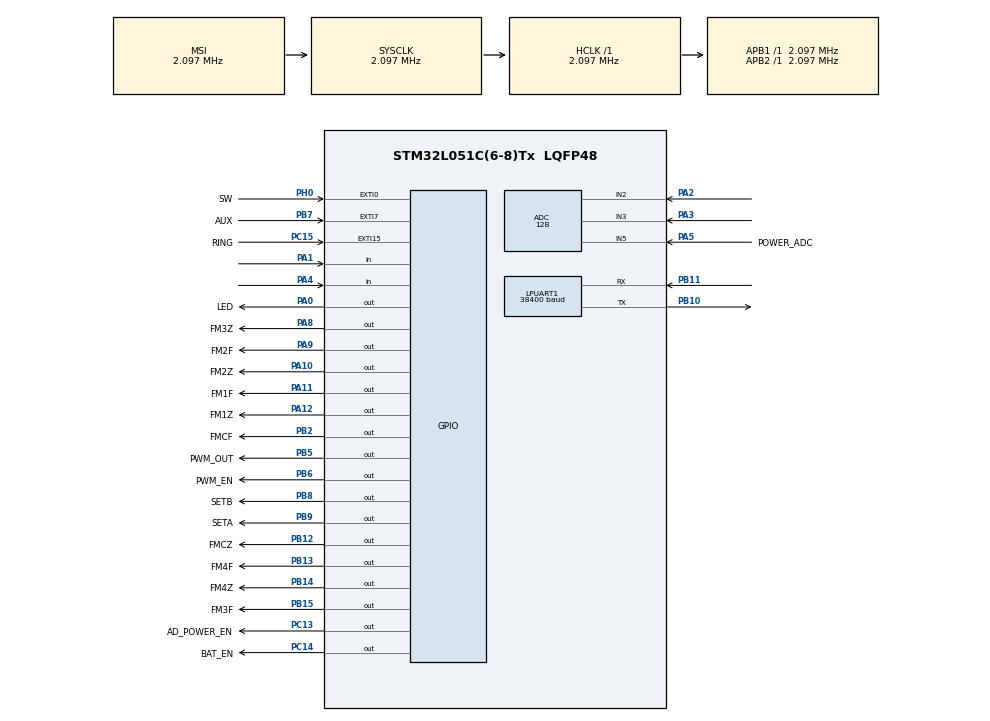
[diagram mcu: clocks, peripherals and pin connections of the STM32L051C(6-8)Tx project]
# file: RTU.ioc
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ADC.ClockPrescaler=ADC_CLOCK_SYNC_PCLK_DIV1
ADC.ContinuousConvMode=DISABLE
ADC.DMAContinuousRequests=DISABLE
ADC.DataAlign=ADC_DATAALIGN_RIGHT
ADC.DiscontinuousConvMode=DISABLE
ADC.EOCSelection=ADC_EOC_SINGLE_CONV
ADC.EnableAnalogWatchDog=false
ADC.ExternalTrigConvEdge=ADC_EXTERNALTRIGCONVEDGE_NONE
ADC.LowPowerAutoPowerOff=DISABLE
ADC.LowPowerAutoWait=DISABLE
ADC.LowPowerFrequencyMode=DISABLE
ADC.Overrun=ADC_OVR_DATA_PRESERVED
ADC.OversamplingMode=DISABLE
ADC.Resolution=ADC_RESOLUTION_12B
ADC.SamplingTime=ADC_SAMPLETIME_71CYCLES_5
ADC.ScanConvMode=ADC_SCAN_DIRECTION_FORWARD
Dma.ADC.1.Direction=DMA_PERIPH_TO_MEMORY
Dma.ADC.1.Instance=DMA1_Channel1
Dma.ADC.1.MemDataAlignment=DMA_MDATAALIGN_WORD
Dma.ADC.1.MemInc=DMA_MINC_ENABLE
Dma.ADC.1.Mode=DMA_CIRCULAR
Dma.ADC.1.PeriphDataAlignment=DMA_PDATAALIGN_WORD
Dma.ADC.1.PeriphInc=DMA_PINC_DISABLE
Dma.ADC.1.Priority=DMA_PRIORITY_LOW
Dma.ADC.1.Request=DMA_REQUEST_0
Dma.LPUART1_RX.0.Direction=DMA_PERIPH_TO_MEMORY
Dma.LPUART1_RX.0.Instance=DMA1_Channel3
Dma.LPUART1_RX.0.MemDataAlignment=DMA_MDATAALIGN_BYTE
Dma.LPUART1_RX.0.MemInc=DMA_MINC_ENABLE
Dma.LPUART1_RX.0.Mode=DMA_CIRCULAR
Dma.LPUART1_RX.0.PeriphDataAlignment=DMA_PDATAALIGN_BYTE
Dma.LPUART1_RX.0.PeriphInc=DMA_PINC_DISABLE
Dma.LPUART1_RX.0.Priority=DMA_PRIORITY_LOW
Dma.LPUART1_RX.0.Request=DMA_REQUEST_5
Dma.Request0=LPUART1_RX
Dma.Request1=ADC
LPUART1.BaudRate=38400
LPUART1.WordLength=UART_WORDLENGTH_8B
Mcu.Family=STM32L0
Mcu.Name=STM32L051C(6-8)Tx
Mcu.Package=LQFP48
NVIC.AES_RNG_LPUART1_IRQn=true\:1\:0\:true\:false\:true
NVIC.DMA1_Channel1_IRQn=true\:0\:0\:false\:false\:true
NVIC.DMA1_Channel2_3_IRQn=true\:0\:0\:false\:false\:true
NVIC.EXTI0_1_IRQn=true\:3\:0\:true\:false\:true
NVIC.EXTI4_15_IRQn=true\:3\:0\:true\:false\:true
NVIC.PVD_IRQn=true\:1\:0\:true\:false\:true
PA0.GPIO_Label=LED
PA0.GPIO_PuPd=GPIO_NOPULL
PA0.Signal=GPIO_Output
PA1.GPIO_PuPd=GPIO_PULLUP
PA1.Signal=GPIO_Input
PA10.GPIO_Label=FM2Z
PA10.Signal=GPIO_Output
PA11.GPIO_Label=FM1F
PA11.Signal=GPIO_Output
PA12.GPIO_Label=FM1Z
PA12.Signal=GPIO_Output
PA13.Mode=Serial_Wire
PA13.Signal=SYS_SWDIO
PA14.Mode=Serial_Wire
PA14.Signal=SYS_SWCLK
PA2.Mode=IN2
PA2.Signal=ADC_IN2
PA3.Mode=IN3
PA3.Signal=ADC_IN3
PA4.GPIO_PuPd=GPIO_PULLUP
PA4.Signal=GPIO_Input
PA5.GPIO_Label=POWER_ADC
PA5.Mode=IN5
PA5.Signal=ADC_IN5
PA8.GPIO_Label=FM3Z
PA8.GPIO_PuPd=GPIO_NOPULL
PA8.Signal=GPIO_Output
PA9.GPIO_Label=FM2F
PA9.Signal=GPIO_Output
PB10.Mode=Asynchronous
PB10.Signal=LPUART1_TX
PB11.Mode=Asynchronous
PB11.Signal=LPUART1_RX
PB12.GPIO_Label=FMCZ
PB12.Signal=GPIO_Output
PB13.GPIO_Label=FM4F
PB13.Signal=GPIO_Output
PB14.GPIO_Label=FM4Z
PB14.Signal=GPIO_Output
PB15.GPIO_Label=FM3F
PB15.Signal=GPIO_Output
PB2.GPIO_Label=FMCF
PB2.Signal=GPIO_Output
PB5.GPIO_Label=PWM_OUT
PB5.GPIO_Speed=GPIO_SPEED_FREQ_HIGH
PB5.Signal=GPIO_Output
PB6.GPIO_Label=PWM_EN
PB6.Signal=GPIO_Output
PB7.GPIO_Label=AUX
PB7.GPIO_ModeDefaultEXTI=GPIO_MODE_IT_FALLING
PB7.Signal=GPXTI7
PB8.GPIO_Label=SETB
PB8.Signal=GPIO_Output
PB9.GPIO_Label=SETA
PB9.Signal=GPIO_Output
PC13.GPIO_Label=AD_POWER_EN
PC13.Signal=GPIO_Output
PC14-OSC32_IN.GPIO_Label=BAT_EN
PC14-OSC32_IN.Signal=GPIO_Output
PC15-OSC32_OUT.GPIO_Label=RING
PC15-OSC32_OUT.Signal=GPXTI15
PH0-OSC_IN.GPIO_Label=SW
PH0-OSC_IN.GPIO_ModeDefaultEXTI=GPIO_MODE_IT_FALLING
PH0-OSC_IN.Signal=GPXTI0
ProjectManager.TargetToolchain=MDK-ARM V5
RCC.AHBFreq_Value=2097000
RCC.APB1Freq_Value=2097000
RCC.APB1TimFreq_Value=2097000
RCC.APB2Freq_Value=2097000
RCC.APB2TimFreq_Value=2097000
RCC.HCLKFreq_Value=2097000
RCC.HSE_VALUE=8000000
RCC.HSI16_VALUE=16000000
RCC.HSI_VALUE=16000000
RCC.LSE_VALUE=32768
RCC.MSI_VALUE=2097000
RCC.SYSCLKFreq_VALUE=2097000
RCC.VCOOutputFreq_Value=48000000
VP_ADC_TempSens_Input.Mode=IN-TempSens
VP_ADC_Vref_Input.Mode=IN-Vrefint
board=RTU

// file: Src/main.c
/**
  ******************************************************************************
  * File Name          : main.c
  * Description        : Main program body
  ******************************************************************************
  *
  * COPYRIGHT(c) 2016 STMicroelectronics
  *
  * Redistribution and use in source and binary forms, with or without modification,
  * are permitted provided that the following conditions are met:
  *   1. Redistributions of source code must retain the above copyright notice,
  *      this list of conditions and the following disclaimer.
  *   2. Redistributions in binary form must reproduce the above copyright notice,
  *      this list of conditions and the following disclaimer in the documentation
  *      and/or other materials provided with the distribution.
  *   3. Neither the name of STMicroelectronics nor the names of its contributors
  *      may be used to endorse or promote products derived from this software
  *      without specific prior written permission.
  *
  * THIS SOFTWARE IS PROVIDED BY THE COPYRIGHT HOLDERS AND CONTRIBUTORS "AS IS"
  * AND ANY EXPRESS OR IMPLIED WARRANTIES, INCLUDING, BUT NOT LIMITED TO, THE
  * IMPLIED WARRANTIES OF MERCHANTABILITY AND FITNESS FOR A PARTICULAR PURPOSE ARE
  * DISCLAIMED. IN NO EVENT SHALL THE COPYRIGHT HOLDER OR CONTRIBUTORS BE LIABLE
  * FOR ANY DIRECT, INDIRECT, INCIDENTAL, SPECIAL, EXEMPLARY, OR CONSEQUENTIAL
  * DAMAGES (INCLUDING, BUT NOT LIMITED TO, PROCUREMENT OF SUBSTITUTE GOODS OR
  * SERVICES; LOSS OF USE, DATA, OR PROFITS; OR BUSINESS INTERRUPTION) HOWEVER
  * CAUSED AND ON ANY THEORY OF LIABILITY, WHETHER IN CONTRACT, STRICT LIABILITY,
  * OR TORT (INCLUDING NEGLIGENCE OR OTHERWISE) ARISING IN ANY WAY OUT OF THE USE
  * OF THIS SOFTWARE, EVEN IF ADVISED OF THE POSSIBILITY OF SUCH DAMAGE.
  *
  ******************************************************************************
  */
#include "stm32l0xx_hal.h"

/* USER CODE BEGIN Includes */
#include "rtu.h"
#define REG_INPUT_START       0
#define REG_INPUT_NREGS       8
#define REG_HOLDING_START     0
#define REG_HOLDING_NREGS     8
#define REG_COILS_START       0
#define REG_COILS_SIZE        16
#define REG_DISCRETE_START    0
#define REG_DISCRETE_SIZE     16
#define  MAX_LEN              256
/* USER CODE END Includes */

ADC_HandleTypeDef hadc;
DMA_HandleTypeDef hdma_adc;

UART_HandleTypeDef hlpuart1;
DMA_HandleTypeDef hdma_lpuart1_rx;

/* USER CODE BEGIN PV */
/* Private variables ---------------------------------------------------------*/
typedef enum
{
    MB_ENOERR,                  /*!< no error. */
    MB_ENOREG,                  /*!< illegal register address. */
    MB_EINVAL,                  /*!< illegal argument. */
    MB_EPORTERR,                /*!< porting layer error. */
    MB_ENORES,                  /*!< insufficient resources. */
    MB_EIO,                     /*!< I/O error. */
    MB_EILLSTATE,               /*!< protocol stack in illegal state. */
    MB_ETIMEDOUT                /*!< timeout error occurred. */
} eMBErrorCode;

typedef enum
{
    MB_REG_READ,                /*!< Read register values and pass to protocol stack. */
    MB_REG_WRITE                /*!< Update register values. */
} eMBRegisterMode;

static uint16_t     usRegInputStart = REG_INPUT_START;
static uint16_t     usRegInputBuf[REG_INPUT_NREGS];
static uint16_t     usRegHoldingStart = REG_HOLDING_START;
static uint16_t     usRegHoldingBuf[REG_HOLDING_NREGS];
static uint8_t      ucRegCoilsBuf[(REG_COILS_SIZE - 1)/8 + 1];
static uint8_t      ucRegDiscreteBuf[(REG_DISCRETE_SIZE - 1 )/8 + 1];
uint8_t           apc240RevDate[MAX_LEN];
extern RTU        rtu;
uint32_t          converValue[6];                     // adc 转换值
uint32_t          counts[2];                          //流量计数
volatile uint8_t           tempFlag = 0;
uint8_t           coilFlag3 = 5, coilFlag4 = 5;
uint8_t           apc240RecLen;
uint8_t           backData[128];
uint8_t           sendData[128];
uint8_t           tempData[128];
uint8_t           set[8];
float value;
float vdda;
/* USER CODE END PV */

void SystemClock_Config(void);
static void MX_GPIO_Init(void);
static void MX_DMA_Init(void);
static void MX_ADC_Init(void);
static void MX_LPUART1_UART_Init(void);

/* USER CODE BEGIN PFP */
/* Private function prototypes -----------------------------------------------*/
void InitInputReg(void);
void InitHoldingReg(void);
void OperationHoldingReg(uint8_t * pucRegBuffer, uint16_t usAddress);
void UpdateInputReg(void);
void UpdateHoldingReg(void);
uint8_t xMBUtilGetBits( uint8_t * ucByteBuf, uint16_t usBitOffset, uint8_t ucNBits );
eMBErrorCode eMBRegCoilsCB( uint8_t * pucRegBuffer, uint16_t usAddress, uint16_t usNCoils,
               eMBRegisterMode eMode );
eMBErrorCode  eMBRegDiscreteCB( uint8_t * pucRegBuffer, uint16_t usAddress, uint16_t usNDiscrete );
eMBErrorCode  eMBRegInputCB( uint8_t * pucRegBuffer, uint16_t usAddress, uint16_t usNRegs );
eMBErrorCode  eMBRegHoldingCB( uint8_t * pucRegBuffer, uint16_t usAddress, uint16_t usNRegs,
                 eMBRegisterMode eMode );
void eMBPoll( uint8_t* data, uint8_t lenght );
/* USER CODE END PFP */

int main(void)
{

  /* MCU Configuration----------------------------------------------------------*/

  /* Reset of all peripherals, Initializes the Flash interface and the Systick. */
  HAL_Init();

  /* Configure the system clock */
  SystemClock_Config();

  /* Initialize all configured peripherals */
  MX_GPIO_Init();
  MX_DMA_Init();
  MX_ADC_Init();
  MX_LPUART1_UART_Init();

  /* USER CODE BEGIN 2 */
	HAL_UART_Receive_DMA(&hlpuart1, apc240RevDate, MAX_LEN);
	__HAL_UART_ENABLE_IT(&hlpuart1,UART_IT_IDLE);
	HAL_PWREx_EnableUltraLowPower();
	HAL_ADCEx_Calibration_Start(&hadc, 0);
	HAL_GPIO_WritePin(BAT_EN_GPIO_Port, BAT_EN_Pin, GPIO_PIN_SET);
	HAL_GPIO_WritePin(PWM_EN_GPIO_Port, PWM_EN_Pin, GPIO_PIN_SET);
	HAL_GPIO_WritePin(AD_POWER_EN_GPIO_Port, AD_POWER_EN_Pin, GPIO_PIN_RESET);
	RtuDateInit();
	InitInputReg();
	InitHoldingReg();
	Apc240SetFre(rtu.apc240_Channel);
  HAL_ADCEx_EnableVREFINT();
	UpdateInputReg();
  /* USER CODE END 2 */

  /* Infinite loop */
  /* USER CODE BEGIN WHILE */
  while (1)
  {
		  HAL_Delay(10);
			uint8_t  lenght = apc240RecLen;
		  if(apc240RecLen >= 128)
			{
				apc240RecLen = 0;
				lenght = 0;
			}
			for(int i = 0; i < lenght; i ++)
			{
				tempData[i] = apc240RevDate[i];
			}
			ClearRcvBuff();
			eMBPoll( tempData, lenght);
			Apc240ModeSet(Apc240Mode2);

			if(coilFlag3 == 1)
			{
				coilFlag3=2;
				HAL_Delay(5000);
				UpdateInputReg();
				HAL_Delay(500);
				UpdateHoldingReg();
			}
			else if(coilFlag3 == 0)
			{
				coilFlag3=3;
				HAL_Delay(5000);
				UpdateInputReg();
				HAL_Delay(500);
				UpdateHoldingReg();
			}
			if(coilFlag4 == 1)
			{
				coilFlag4=2;
				HAL_Delay(5000);
				UpdateInputReg();
				HAL_Delay(500);
				UpdateHoldingReg();
			}
			else if(coilFlag4 == 0)
			{
				coilFlag4=3;
				HAL_Delay(5000);
				UpdateInputReg();
				HAL_Delay(500);
				UpdateHoldingReg();
			}
			/*
			异常处理
			*/
			if(rtu.rtuId != ReadDateEeprom(IdAddress))
			{
					HAL_NVIC_SystemReset();
			}
			__HAL_DMA_DISABLE(&hdma_lpuart1_rx);
		  hdma_lpuart1_rx.Instance->CNDTR = MAX_LEN;
	  	__HAL_DMA_ENABLE(&hdma_lpuart1_rx);
			///

			if(coilFlag3 == 0 && coilFlag4 == 0)
			{
				HAL_SuspendTick();
				HAL_PWR_EnterSTOPMode(PWR_LOWPOWERREGULATOR_ON, PWR_STOPENTRY_WFI);
				SystemClock_Config();
			}
//

  /* USER CODE END WHILE */

  }

}

/** System Clock Configuration
*/
void SystemClock_Config(void)
{

  RCC_OscInitTypeDef RCC_OscInitStruct;
  RCC_ClkInitTypeDef RCC_ClkInitStruct;
  RCC_PeriphCLKInitTypeDef PeriphClkInit;

  __HAL_RCC_PWR_CLK_ENABLE();

  __HAL_PWR_VOLTAGESCALING_CONFIG(PWR_REGULATOR_VOLTAGE_SCALE1);

  RCC_OscInitStruct.OscillatorType = RCC_OSCILLATORTYPE_MSI;
  RCC_OscInitStruct.MSIState = RCC_MSI_ON;
  RCC_OscInitStruct.MSICalibrationValue = 0;
  RCC_OscInitStruct.MSIClockRange = RCC_MSIRANGE_5;
  RCC_OscInitStruct.PLL.PLLState = RCC_PLL_NONE;
  HAL_RCC_OscConfig(&RCC_OscInitStruct);

  RCC_ClkInitStruct.ClockType = RCC_CLOCKTYPE_HCLK|RCC_CLOCKTYPE_SYSCLK
                              |RCC_CLOCKTYPE_PCLK1|RCC_CLOCKTYPE_PCLK2;
  RCC_ClkInitStruct.SYSCLKSource = RCC_SYSCLKSOURCE_MSI;
  RCC_ClkInitStruct.AHBCLKDivider = RCC_SYSCLK_DIV1;
  RCC_ClkInitStruct.APB1CLKDivider = RCC_HCLK_DIV1;
  RCC_ClkInitStruct.APB2CLKDivider = RCC_HCLK_DIV1;
  HAL_RCC_ClockConfig(&RCC_ClkInitStruct, FLASH_LATENCY_0);

  PeriphClkInit.PeriphClockSelection = RCC_PERIPHCLK_LPUART1;
  PeriphClkInit.Lpuart1ClockSelection = RCC_LPUART1CLKSOURCE_PCLK1;
  HAL_RCCEx_PeriphCLKConfig(&PeriphClkInit);

  HAL_SYSTICK_Config(HAL_RCC_GetHCLKFreq()/1000);

  HAL_SYSTICK_CLKSourceConfig(SYSTICK_CLKSOURCE_HCLK);

  /* SysTick_IRQn interrupt configuration */
  HAL_NVIC_SetPriority(SysTick_IRQn, 0, 0);
}

/* ADC init function */
void MX_ADC_Init(void)
{

  ADC_ChannelConfTypeDef sConfig;

    /**Configure the global features of the ADC (Clock, Resolution, Data Alignment and number of conversion)
    */
  hadc.Instance = ADC1;
  hadc.Init.OversamplingMode = DISABLE;
  hadc.Init.ClockPrescaler = ADC_CLOCK_SYNC_PCLK_DIV1;
  hadc.Init.Resolution = ADC_RESOLUTION_12B;
  hadc.Init.SamplingTime = ADC_SAMPLETIME_71CYCLES_5;
  hadc.Init.ScanConvMode = ADC_SCAN_DIRECTION_FORWARD;
  hadc.Init.DataAlign = ADC_DATAALIGN_RIGHT;
  hadc.Init.ContinuousConvMode = DISABLE;
  hadc.Init.DiscontinuousConvMode = DISABLE;
  hadc.Init.ExternalTrigConvEdge = ADC_EXTERNALTRIGCONVEDGE_NONE;
  hadc.Init.DMAContinuousRequests = DISABLE;
  hadc.Init.EOCSelection = ADC_EOC_SINGLE_CONV;
  hadc.Init.Overrun = ADC_OVR_DATA_PRESERVED;
  hadc.Init.LowPowerAutoWait = DISABLE;
  hadc.Init.LowPowerFrequencyMode = DISABLE;
  hadc.Init.LowPowerAutoPowerOff = DISABLE;
  HAL_ADC_Init(&hadc);

    /**Configure for the selected ADC regular channel to be converted.
    */
  sConfig.Channel = ADC_CHANNEL_2;
  sConfig.Rank = ADC_RANK_CHANNEL_NUMBER;
  HAL_ADC_ConfigChannel(&hadc, &sConfig);

    /**Configure for the selected ADC regular channel to be converted.
    */
  sConfig.Channel = ADC_CHANNEL_3;
  HAL_ADC_ConfigChannel(&hadc, &sConfig);

    /**Configure for the selected ADC regular channel to be converted.
    */
  sConfig.Channel = ADC_CHANNEL_5;
  HAL_ADC_ConfigChannel(&hadc, &sConfig);

    /**Configure for the selected ADC regular channel to be converted.
    */
  sConfig.Channel = ADC_CHANNEL_TEMPSENSOR;
  HAL_ADC_ConfigChannel(&hadc, &sConfig);

    /**Configure for the selected ADC regular channel to be converted.
    */
  sConfig.Channel = ADC_CHANNEL_VREFINT;
  HAL_ADC_ConfigChannel(&hadc, &sConfig);

}

/* LPUART1 init function */
void MX_LPUART1_UART_Init(void)
{

  hlpuart1.Instance = LPUART1;
  hlpuart1.Init.BaudRate = 38400;
  hlpuart1.Init.WordLength = UART_WORDLENGTH_8B;
  hlpuart1.Init.StopBits = UART_STOPBITS_1;
  hlpuart1.Init.Parity = UART_PARITY_NONE;
  hlpuart1.Init.Mode = UART_MODE_TX_RX;
  hlpuart1.Init.HwFlowCtl = UART_HWCONTROL_NONE;
  hlpuart1.Init.OneBitSampling = UART_ONE_BIT_SAMPLE_DISABLE;
  hlpuart1.AdvancedInit.AdvFeatureInit = UART_ADVFEATURE_NO_INIT;
  HAL_UART_Init(&hlpuart1);

}

void MX_DMA_Init(void)
{
  /* DMA controller clock enable */
  __HAL_RCC_DMA1_CLK_ENABLE();

  /* DMA interrupt init */
  /* DMA1_Channel1_IRQn interrupt configuration */
  HAL_NVIC_SetPriority(DMA1_Channel1_IRQn, 0, 0);
  HAL_NVIC_EnableIRQ(DMA1_Channel1_IRQn);
  /* DMA1_Channel2_3_IRQn interrupt configuration */
  HAL_NVIC_SetPriority(DMA1_Channel2_3_IRQn, 0, 0);
  HAL_NVIC_EnableIRQ(DMA1_Channel2_3_IRQn);

}

/** Configure pins as
        * Analog
        * Input
        * Output
        * EVENT_OUT
        * EXTI
        * Free pins are configured automatically as Analog (this feature is enabled through
        * the Code Generation settings)
*/
void MX_GPIO_Init(void)
{

  GPIO_InitTypeDef GPIO_InitStruct;

  /* GPIO Ports Clock Enable */
  __HAL_RCC_GPIOC_CLK_ENABLE();
  __HAL_RCC_GPIOH_CLK_ENABLE();
  __HAL_RCC_GPIOA_CLK_ENABLE();
  __HAL_RCC_GPIOB_CLK_ENABLE();

  /*Configure GPIO pin Output Level */
  HAL_GPIO_WritePin(GPIOC, AD_POWER_EN_Pin|BAT_EN_Pin, GPIO_PIN_RESET);

  /*Configure GPIO pin Output Level */
  HAL_GPIO_WritePin(GPIOA, LED_Pin|FM3Z_Pin|FM2F_Pin|FM2Z_Pin
                          |FM1F_Pin|FM1Z_Pin, GPIO_PIN_RESET);

  /*Configure GPIO pin Output Level */
  HAL_GPIO_WritePin(GPIOB, FMCF_Pin|FMCZ_Pin|FM4F_Pin|FM4Z_Pin
                          |FM3F_Pin|PWM_OUT_Pin|PWM_EN_Pin|SETB_Pin
                          |SETA_Pin, GPIO_PIN_RESET);

  /*Configure GPIO pins : AD_POWER_EN_Pin BAT_EN_Pin */
  GPIO_InitStruct.Pin = AD_POWER_EN_Pin|BAT_EN_Pin;
  GPIO_InitStruct.Mode = GPIO_MODE_OUTPUT_PP;
  GPIO_InitStruct.Pull = GPIO_NOPULL;
  GPIO_InitStruct.Speed = GPIO_SPEED_FREQ_LOW;
  HAL_GPIO_Init(GPIOC, &GPIO_InitStruct);

  /*Configure GPIO pin : RING_Pin */
  GPIO_InitStruct.Pin = RING_Pin;
  GPIO_InitStruct.Mode = GPIO_MODE_IT_RISING;
  GPIO_InitStruct.Pull = GPIO_NOPULL;
  HAL_GPIO_Init(RING_GPIO_Port, &GPIO_InitStruct);

  /*Configure GPIO pin : SW_Pin */
  GPIO_InitStruct.Pin = SW_Pin;
  GPIO_InitStruct.Mode = GPIO_MODE_IT_FALLING;
  GPIO_InitStruct.Pull = GPIO_NOPULL;
  HAL_GPIO_Init(SW_GPIO_Port, &GPIO_InitStruct);

  /*Configure GPIO pin : PH1 */
  GPIO_InitStruct.Pin = GPIO_PIN_1;
  GPIO_InitStruct.Mode = GPIO_MODE_ANALOG;
  GPIO_InitStruct.Pull = GPIO_NOPULL;
  HAL_GPIO_Init(GPIOH, &GPIO_InitStruct);

  /*Configure GPIO pins : LED_Pin FM3Z_Pin FM2F_Pin FM2Z_Pin
                           FM1F_Pin FM1Z_Pin */
  GPIO_InitStruct.Pin = LED_Pin|FM3Z_Pin|FM2F_Pin|FM2Z_Pin
                          |FM1F_Pin|FM1Z_Pin;
  GPIO_InitStruct.Mode = GPIO_MODE_OUTPUT_PP;
  GPIO_InitStruct.Pull = GPIO_NOPULL;
  GPIO_InitStruct.Speed = GPIO_SPEED_FREQ_LOW;
  HAL_GPIO_Init(GPIOA, &GPIO_InitStruct);

  /*Configure GPIO pins : PA1 PA4 */
  GPIO_InitStruct.Pin = GPIO_PIN_1|GPIO_PIN_4;
  GPIO_InitStruct.Mode = GPIO_MODE_IT_RISING_FALLING;
  GPIO_InitStruct.Pull = GPIO_NOPULL;
  HAL_GPIO_Init(GPIOA, &GPIO_InitStruct);

  /*Configure GPIO pins : PA6 PA7 PA15 */
  GPIO_InitStruct.Pin = GPIO_PIN_6|GPIO_PIN_7|GPIO_PIN_15;
  GPIO_InitStruct.Mode = GPIO_MODE_ANALOG;
  GPIO_InitStruct.Pull = GPIO_NOPULL;
  HAL_GPIO_Init(GPIOA, &GPIO_InitStruct);

  /*Configure GPIO pins : PB0 PB1 PB3 PB4 */
  GPIO_InitStruct.Pin = GPIO_PIN_0|GPIO_PIN_1|GPIO_PIN_3|GPIO_PIN_4;
  GPIO_InitStruct.Mode = GPIO_MODE_ANALOG;
  GPIO_InitStruct.Pull = GPIO_NOPULL;
  HAL_GPIO_Init(GPIOB, &GPIO_InitStruct);

  /*Configure GPIO pins : FMCF_Pin FMCZ_Pin FM4F_Pin FM4Z_Pin
                           FM3F_Pin PWM_EN_Pin SETB_Pin SETA_Pin */
  GPIO_InitStruct.Pin = FMCF_Pin|FMCZ_Pin|FM4F_Pin|FM4Z_Pin
                          |FM3F_Pin|PWM_EN_Pin|SETB_Pin|SETA_Pin;
  GPIO_InitStruct.Mode = GPIO_MODE_OUTPUT_PP;
  GPIO_InitStruct.Pull = GPIO_NOPULL;
  GPIO_InitStruct.Speed = GPIO_SPEED_FREQ_LOW;
  HAL_GPIO_Init(GPIOB, &GPIO_InitStruct);

  /*Configure GPIO pin : PWM_OUT_Pin */
  GPIO_InitStruct.Pin = PWM_OUT_Pin;
  GPIO_InitStruct.Mode = GPIO_MODE_OUTPUT_PP;
  GPIO_InitStruct.Pull = GPIO_NOPULL;
  GPIO_InitStruct.Speed = GPIO_SPEED_FREQ_HIGH;
  HAL_GPIO_Init(PWM_OUT_GPIO_Port, &GPIO_InitStruct);

  /*Configure GPIO pin : AUX_Pin */
  GPIO_InitStruct.Pin = AUX_Pin;
  GPIO_InitStruct.Mode = GPIO_MODE_IT_FALLING;
  GPIO_InitStruct.Pull = GPIO_NOPULL;
  HAL_GPIO_Init(AUX_GPIO_Port, &GPIO_InitStruct);

  /* EXTI interrupt init*/
  HAL_NVIC_SetPriority(EXTI0_1_IRQn, 3, 0);
  HAL_NVIC_EnableIRQ(EXTI0_1_IRQn);

  HAL_NVIC_SetPriority(EXTI4_15_IRQn, 3, 0);
  HAL_NVIC_EnableIRQ(EXTI4_15_IRQn);

}

/* USER CODE BEGIN 4 */
void
xMBUtilSetBits( uint8_t * ucByteBuf,  uint16_t usBitOffset, uint8_t ucNBits,
                uint8_t ucValue )
{
    uint16_t          usWordBuf;
    uint16_t          usMask;
    uint16_t          usByteOffset;
    uint16_t          usNPreBits;
    uint16_t          usValue = ucValue;

  //  assert( ucNBits <= 8 );
  //  assert( ( size_t )BITS_UCHAR == sizeof( uint8_t ) * 8 );

    /* Calculate byte offset for first byte containing the bit values starting
     * at usBitOffset. */
    usByteOffset = (  uint16_t )( ( usBitOffset ) / 8 );

    /* How many bits precede our bits to set. */
    usNPreBits = (  uint16_t )( usBitOffset - usByteOffset * 8 );

    /* Move bit field into position over bits to set */
    usValue <<= usNPreBits;

    /* Prepare a mask for setting the new bits. */
    usMask = (  uint16_t )( ( 1 << (  uint16_t ) ucNBits ) - 1 );
    usMask <<= usBitOffset - usByteOffset * 8;

    /* copy bits into temporary storage. */
    usWordBuf = ucByteBuf[usByteOffset];
    usWordBuf |= ucByteBuf[usByteOffset + 1] << 8;

    /* Zero out bit field bits and then or value bits into them. */
    usWordBuf = (  uint16_t )( ( usWordBuf & ( ~usMask ) ) | usValue );

    /* move bits back into storage */
    ucByteBuf[usByteOffset] = ( uint8_t )( usWordBuf & 0xFF );
    ucByteBuf[usByteOffset + 1] = ( uint8_t )( usWordBuf >> 8 );
}

uint8_t
xMBUtilGetBits( uint8_t * ucByteBuf, uint16_t usBitOffset, uint8_t ucNBits )
{
    uint8_t          usWordBuf;
    uint8_t          usMask;
    uint8_t          usByteOffset;
    uint8_t          usNPreBits;

    /* Calculate byte offset for first byte containing the bit values starting
     * at usBitOffset. */
    usByteOffset = ( uint16_t )( ( usBitOffset ) / 8 );

    /* How many bits precede our bits to set. */
    usNPreBits = ( uint16_t )( usBitOffset - usByteOffset * 8 );

    /* Prepare a mask for setting the new bits. */
    usMask = ( uint16_t )( ( 1 << ( uint16_t ) ucNBits ) - 1 );

    /* copy bits into temporary storage. */
    usWordBuf = ucByteBuf[usByteOffset];
    usWordBuf |= ucByteBuf[usByteOffset + 1] << 8;

    /* throw away unneeded bits. */
    usWordBuf >>= usNPreBits;

    /* mask away bits above the requested bitfield. */
    usWordBuf &= usMask;

    return ( uint8_t ) usWordBuf;
}

void eMBPoll( uint8_t* data, uint8_t lenght )
{
		if(usMBCRC16( data, lenght) == 0 && lenght == 0x08)
		{
				if(data[0] == rtu.rtuId && data[1] != 0)
				{
					  uint8_t sendLength = 0;
					  sendData[0] = rtu.rtuId;
					  sendData[1] = data[1];
						uint16_t  startAdress = data[2] <<8 | data[3];
					  uint16_t  dataNumbers  = data[4] <<8 | data[5];
					  uint16_t   crc;
					  eMBRegisterMode eMode;
						if( data[1] == 0x01)
						{
								eMode =  MB_REG_READ;
								if(dataNumbers >= 0x01 && dataNumbers <= 0x07d0)
								{
								    if(eMBRegCoilsCB( backData, startAdress, dataNumbers, eMode ) == MB_ENOERR)
										{
											  uint8_t  temp = (dataNumbers - 1)/8;
										  	sendData[2]= temp + 1;
												for(int i = 0; i < temp +1; i++)
												{
														sendData[3 + i] = backData[temp];
												}
												crc = usMBCRC16(sendData,4 + temp);
                        sendData[4 + temp] = crc;
                        sendData[5 + temp] = crc>>8;
											  sendLength  = 6 + temp;
												Apc240SendWait(sendData, sendLength);
										}
										else
										{
											// 02 error
											sendData[1] = 0x80 + data[1];
											sendData[2] = 0x02;
											crc = usMBCRC16(sendData,3);
                      sendData[3] = crc;
                      sendData[4] = crc>>8;
											sendLength  = 0x05;
											Apc240SendWait(sendData, sendLength);
										}
								}
								else
								{
								//03 error
									  sendData[1] = 0x80 + data[1];
										sendData[2] = 0x02;
										crc = usMBCRC16(sendData,3);
                    sendData[3] = crc;
                    sendData[4] = crc>>8;
									  sendLength  = 0x05;
								  	Apc240SendWait(sendData, sendLength);
								}
						}

						else if(data[1] == 0x02)
						{
								if(dataNumbers >= 0x01 && dataNumbers <= 0x07d0)
								{
								    if(eMBRegDiscreteCB( backData, startAdress, dataNumbers ) == MB_ENOERR)
										{
												uint8_t  temp = (dataNumbers -1 )/8;
										  	sendData[2]= temp + 1;
												for(int i = 0; i < temp +1; i++)
												{
														sendData[3 + i] = backData[temp];
												}
												crc = usMBCRC16(sendData,4 + temp);
                        sendData[4 + temp] = crc;
                        sendData[5 + temp] = crc>>8;
											  sendLength  = 6 + temp;
												Apc240SendWait(sendData, sendLength);
										}
										else
										{
											// 02 error
											sendData[1] = 0x80 + data[1];
											sendData[2] = 0x02;
											crc = usMBCRC16(sendData,3);
                      sendData[3] = crc;
                      sendData[4] = crc>>8;
											sendLength  = 0x05;
											Apc240SendWait(sendData, sendLength);
										}
								}
								else
								{
								//03 error
									  sendData[1] = 0x80 + data[1];
										sendData[2] = 0x02;
									  crc = usMBCRC16(sendData,3);
                    sendData[3] = crc;
                    sendData[4] = crc>>8;
									  sendLength  = 0x05;
								    Apc240SendWait(sendData, sendLength);
								}
						}

						else if(data[1] == 0x03 )
						{
								if(dataNumbers >= 0x01 && dataNumbers <= 0x007d)
								{
										eMode = MB_REG_READ;
								    if(eMBRegHoldingCB( backData, startAdress, dataNumbers, eMode ) == MB_ENOERR)
										{
//														sendData[2] = dataNumbers ;
//													  for(int i = 0; i < dataNumbers; i ++)
//														{
//																sendData[3 + i*2] = backData[i*2] ;
//																sendData[4 + i*2] = backData[i*2+1] ;
//														}
//														crc = usMBCRC16(sendData, 3+ dataNumbers*2);
//                            sendData[3+ dataNumbers*2] = crc;
//                            sendData[4+ dataNumbers*2] = crc>>8;
//											      sendLength  = 5+ dataNumbers*2;
//														Apc240SendWait(sendData, sendLength);
										}
										else
										{
											// 02 error
											sendData[1] = 0x80 + data[1];
										  sendData[2] = 0x02;
											crc = usMBCRC16(sendData,3);
                      sendData[3] = crc;
                      sendData[4] = crc>>8;
											sendLength  = 0x05;
											Apc240SendWait(sendData, sendLength);
										}
								}
								else
								{
								//03 error
									  sendData[1] = 0x80 + data[1];
										sendData[2] = 0x03;
								  	crc = usMBCRC16(sendData,3);
                    sendData[3] = crc;
                    sendData[4] = crc>>8;
									  sendLength  = 0x05;
								  	Apc240SendWait(sendData, sendLength);
								}
						}

						else if(data[1] == 0x04)
						{
								if(dataNumbers >= 0x01 && dataNumbers <= 0x007d)
								{
								    if(eMBRegInputCB( backData, startAdress, dataNumbers ) == MB_ENOERR)
										{
//												sendData[2] = dataNumbers ;
//											  for(int i = 0; i < dataNumbers; i ++)
//													{
//															sendData[3 + i*2] = backData[i*2] ;
//															sendData[4 + i*2] = backData[i*2+1];
//													}
//													crc = usMBCRC16(sendData, 3+ dataNumbers*2);
//                          sendData[3+ dataNumbers*2] = crc;
//                          sendData[4+ dataNumbers*2] = crc>>8;
//											    sendLength  = 5+ dataNumbers*2;
//													Apc240SendWait(sendData, sendLength);
										}
										else
										{
											// 02 error
											sendData[1] = 0x80 + data[1];
										  sendData[2] = 0x02;
											crc = usMBCRC16(sendData,3);
                      sendData[3] = crc;
                      sendData[4] = crc>>8;
											sendLength  = 0x05;
											Apc240SendWait(sendData, sendLength);
										}
								}
								else
								{
								//03 error
									  sendData[1] = 0x80 + data[1];
										sendData[2] = 0x03;
										crc = usMBCRC16(sendData,3);
                    sendData[3] = crc;
                    sendData[4] = crc>>8;
									  sendLength  = 0x05;
								  	Apc240SendWait(sendData, sendLength);
								}
						}

						else if(data[1] == 0x05)
						{
							Apc240SendWait(data,8);
						  eMode =  MB_REG_WRITE;
								if(dataNumbers == 0x0000 || dataNumbers == 0xff00)
								{
										if(dataNumbers == 0)
										{
											set[0] = 0;
										}
										else
										{
											set[0] = 1;
										}
								    if(eMBRegCoilsCB( set, startAdress, 1, eMode ) == MB_ENOERR)
										{
												HAL_Delay(15);
										}
										else
										{
											// 02 error
											sendData[1] = 0x80 + data[1];
										  sendData[2] = 0x02;
											crc = usMBCRC16(sendData,3);
                      sendData[3] = crc;
                      sendData[4] = crc>>8;
											sendLength  = 0x05;
											Apc240SendWait(sendData, sendLength);
										}
								}
								else
								{
								//03 error
									  sendData[1] = 0x80 + data[1];
										sendData[2] = 0x03;
										crc = usMBCRC16(sendData,3);
                    sendData[3] = crc;
                    sendData[4] = crc>>8;
									  sendLength  = 0x05;
									  Apc240SendWait(sendData, sendLength);
								}
						}
						else if(data[1] == 0x06)
						{
										eMode = MB_REG_WRITE;
						      	set[0] = dataNumbers >> 8;
							      set[1] = dataNumbers & 0xff ;
								    if(eMBRegHoldingCB( set, startAdress, 1, eMode ) == MB_ENOERR)
										{
												 Apc240SendWait(data,8);
										}
										else
										{
											// 02 error
											sendData[1] = 0x80 + data[1];
										  sendData[2] = 0x02;
											crc = usMBCRC16(sendData,3);
                      sendData[3] = crc;
                      sendData[4] = crc>>8;
											sendLength  = 0x05;
											Apc240SendWait(sendData, sendLength);
										}

						}
						else
						{
								// 01 error
								  sendData[1] = 0x80 + data[1];
									sendData[2] = 0x01;
									crc = usMBCRC16(sendData,3);
                  sendData[3] = crc;
                  sendData[4] = crc>>8;
							    sendLength  = 0x05;
							    Apc240SendWait(sendData, sendLength);
						}
						memset((void*)data, 0 , sizeof(uint8_t) * lenght);
				}

				if(rtu.setMode == 1)
				{
						RtuSet(data, lenght);

				}
		}
}

eMBErrorCode
eMBRegInputCB( uint8_t * pucRegBuffer, uint16_t usAddress, uint16_t usNRegs )
{
    eMBErrorCode    eStatus = MB_ENOERR;
    int             iRegIndex;

	 LedOn();
 UpdateInputReg();
	 if( ( usAddress >= REG_INPUT_START )
        && ( usAddress + usNRegs <= REG_INPUT_START + REG_INPUT_NREGS ) )
    {
        iRegIndex = ( int )( usAddress - usRegInputStart );
        while( usNRegs > 0 )
        {
            *pucRegBuffer++ = ( unsigned char )( usRegInputBuf[iRegIndex] >> 8 );
            *pucRegBuffer++ = ( unsigned char )( usRegInputBuf[iRegIndex] & 0xFF );
            iRegIndex++;
            usNRegs--;
        }
    }
    else
    {
        eStatus = MB_ENOREG;
    }
		LedOff();
    return eStatus;
}

eMBErrorCode
eMBRegHoldingCB( uint8_t * pucRegBuffer, uint16_t usAddress, uint16_t usNRegs,
                 eMBRegisterMode eMode )
{
    eMBErrorCode    eStatus = MB_ENOERR;
    int             iRegIndex;
		LedOn();
 UpdateHoldingReg();
    if( ( usAddress >= REG_HOLDING_START ) &&
        ( usAddress + usNRegs <= REG_HOLDING_START + REG_HOLDING_NREGS ) )
    {
        iRegIndex = ( int )( usAddress - usRegHoldingStart );
        switch ( eMode )
        {
            /* Pass current register values to the protocol stack. */
        case MB_REG_READ:
            while( usNRegs > 0 )
            {
                *pucRegBuffer++ = ( unsigned char )( usRegHoldingBuf[iRegIndex] >> 8 );
                *pucRegBuffer++ = ( unsigned char )( usRegHoldingBuf[iRegIndex] & 0xFF );
                iRegIndex++;
                usNRegs--;
            }
            break;

            /* Update current register values with new values from the
             * protocol stack. */
        case MB_REG_WRITE:
            while( usNRegs > 0 )
            {
                usRegHoldingBuf[iRegIndex] = *pucRegBuffer++ << 8;
                usRegHoldingBuf[iRegIndex] |= *pucRegBuffer++;
                iRegIndex++;
                usNRegs--;
							  OperationHoldingReg(pucRegBuffer, usAddress);
            }
						 break;
        }
    }
    else
    {
        eStatus = MB_ENOREG;
    }
		LedOff();
    return eStatus;
}

eMBErrorCode
eMBRegCoilsCB( uint8_t * pucRegBuffer, uint16_t usAddress, uint16_t usNCoils,
               eMBRegisterMode eMode )
{
   eMBErrorCode eStatus = MB_ENOERR;
	 int16_t iNCoils = ( int16_t )usNCoils;
   int16_t usBitOffset;
   LedOn();
   if( ( (int16_t)usAddress >= REG_COILS_START ) &&
      (  usAddress + usNCoils <= REG_COILS_START + REG_COILS_SIZE ) )
      {
          usBitOffset = ( int16_t )( usAddress - REG_COILS_START );
					switch ( eMode )
									{
									case MB_REG_READ:
									while( iNCoils > 0 )
									{
										*pucRegBuffer++ = xMBUtilGetBits( ucRegCoilsBuf, usBitOffset,
										( uint8_t )( iNCoils > 8 ? 8 : iNCoils ) );
										iNCoils -= 8;
										usBitOffset += 8;
									}
									break;

									case MB_REG_WRITE:
									while( iNCoils > 0 )
									{
										if(usAddress == 3 || usAddress == 2)
										{
													OperateCoil(* pucRegBuffer, usAddress+1 );
										}
										xMBUtilSetBits( ucRegCoilsBuf, usBitOffset,
										( uint8_t )( iNCoils > 8 ? 8 : iNCoils ),
										*pucRegBuffer++ );
										iNCoils -= 8;
									}
									break;
									}

		   }
  else
			{
					eStatus = MB_ENOREG;
			}
		  LedOff();
			return eStatus;
}

eMBErrorCode
eMBRegDiscreteCB( uint8_t * pucRegBuffer, uint16_t usAddress, uint16_t usNDiscrete )
{
	eMBErrorCode eStatus = MB_ENOERR;
  int16_t iNDiscrete = ( int16_t )usNDiscrete;
	uint16_t usBitOffset;
	ucRegDiscreteBuf[0] = UpdateInput();
	LedOn();
  if( ( (int16_t)usAddress >= REG_DISCRETE_START ) &&
     ( usAddress + usNDiscrete <= REG_DISCRETE_START + REG_DISCRETE_SIZE ) )
		{
			usBitOffset = ( uint16_t )( usAddress - REG_DISCRETE_START );
			while( iNDiscrete > 0 )
				{
					*pucRegBuffer++ = xMBUtilGetBits( ucRegDiscreteBuf, usBitOffset,
					( uint8_t)( iNDiscrete > 8 ? 8 : iNDiscrete ) );
					iNDiscrete -= 8;
					usBitOffset += 8;
				}
		}
	else
		{
			eStatus = MB_ENOREG;
		}
	LedOff();
	return eStatus;

}

void InitInputReg()
{
	usRegInputBuf[0] = rtu.rtuId;
	usRegInputBuf[1] = rtu.apc240_Channel;
	usRegInputBuf[2] = rtu.voltage;
	usRegInputBuf[3] = rtu.temperature;
}

void InitHoldingReg()
{
//	uint16_t temp1 = 0, temp2 = 0;
//	usRegHoldingBuf[0] = rtu.chargeTime;
//	usRegHoldingBuf[1] = rtu.batChargeTime;
//	temp1 = ReadDateEeprom(LIU1V4);
//	temp1 = temp1 << 8;
//	temp1 = temp1 | ReadDateEeprom(LIU1V3);
//	temp2 = ReadDateEeprom(LIU1V2);
//	temp2 = temp2 << 8;
//	temp2 = temp2 | ReadDateEeprom(LIU1V1);
//	usRegHoldingBuf[2] = temp1;
//	usRegHoldingBuf[3] = temp2;
}

void OperationHoldingReg(uint8_t * pucRegBuffer, uint16_t usAddress)
{
	uint16_t temp;
	temp = *pucRegBuffer++ << 8;
  temp |= *pucRegBuffer++;
	if(usAddress == 1)
	{
		if(temp <= 15)
		{
			rtu.chargeTime = temp;
		}
		else
		{
			usRegHoldingBuf[0] = rtu.chargeTime;
		}
	}
	else if(usAddress == 2)
	{
		if(temp <= 200)
		{
			rtu.batChargeTime = temp;
		}
		else
		{
			usRegHoldingBuf[1] = rtu.batChargeTime;
		}
	}
}

void UpdateInputReg()
{
	//__HAL_ADC_ENABLE(&hadc);
if(coilFlag3==2||coilFlag3==3)
{
	OutputVoltage(open,1);
	coilFlag3=5;
}
if(coilFlag4==2||coilFlag4==3)
{
	OutputVoltage(open,2);
	coilFlag4=5;
}
  HAL_GPIO_WritePin(AD_POWER_EN_GPIO_Port, AD_POWER_EN_Pin, GPIO_PIN_SET);
	HAL_ADC_Start_DMA(&hadc, converValue, 6);
	HAL_Delay(400);
	HAL_ADC_Stop_DMA(&hadc);
	HAL_ADC_Start_DMA(&hadc, converValue, 6);
	HAL_Delay(400);
	vdda = *VREFINT_CAL*3.0f/(converValue[3] );
	usRegInputBuf[2] = (uint16_t)(vdda * converValue[2] *3200.f*2/4095);
	usRegInputBuf[3] = (uint16_t)(vdda * converValue[0] *3200.f*(3.3f+6.8f)/3.3f/4095.f);
  usRegInputBuf[4] = (uint16_t)(vdda * converValue[1] *3200.f*(3.3f+6.8f)/3.3f/4095.f);
	rtu.voltage = vdda*(converValue[2] )*2/4095;
	HAL_Delay(200);
	HAL_GPIO_WritePin(AD_POWER_EN_GPIO_Port, AD_POWER_EN_Pin, GPIO_PIN_RESET);
	HAL_ADC_Stop_DMA(&hadc);
	OutputVoltage(close,1);
  OutputVoltage(close,2);
	  uint16_t crc;
		uint8_t dataNumbers=5;
		uint8_t sendLength = 0;
		sendData[0] = rtu.rtuId;
		sendData[1] = 0x04;
		sendData[2] = dataNumbers ;
		for(int i = 0; i < 10; i ++)
		{
				sendData[3 + i*2] = usRegInputBuf[i]>>8;
				sendData[4 + i*2] = usRegInputBuf[i]& 0xFF;
		}
		crc = usMBCRC16(sendData, 3+ dataNumbers*2);
		sendData[3+ dataNumbers*2] = crc;
		sendData[4+ dataNumbers*2] = crc>>8;
		sendLength  = 5+ dataNumbers*2;
		Apc240ModeSet(Apc240Mode1);
		HAL_Delay(50);
		Apc240Send(sendData,sendLength);
	// __HAL_ADC_DISABLE(&hadc);
}

void UpdateHoldingReg()
{
//		usRegHoldingBuf[3] = (uint16_t)(counts[0]>> 16);
//		usRegHoldingBuf[2] =  (uint16_t) counts[0];
//		usRegHoldingBuf[5] = (uint16_t)(counts[1] >> 16);
//		usRegHoldingBuf[4] =  (uint16_t) counts[1];
	  uint16_t crc;
		uint8_t dataNumbers=6;
		uint8_t sendLength = 0;
		sendData[0] = rtu.rtuId;
		sendData[1] = 0x03;
		sendData[2] = dataNumbers;
		for(int i = 0; i < 10; i ++)
		{
				sendData[3 + i*2] = usRegHoldingBuf[i]>>8;
				sendData[4 + i*2] = usRegHoldingBuf[i]& 0xFF;
		}
		crc = usMBCRC16(sendData, 3+ dataNumbers*2);
		sendData[3+ dataNumbers*2] = crc;
		sendData[4+ dataNumbers*2] = crc>>8;
		sendLength  = 5+ dataNumbers*2;
		Apc240ModeSet(Apc240Mode1);
		HAL_Delay(50);
		Apc240Send(sendData,sendLength);
}

void HAL_GPIO_EXTI_Callback(uint16_t GPIO_Pin)
{
	if(GPIO_Pin == SW_Pin)
	{
		HAL_Delay(20);
		if(HAL_GPIO_ReadPin(SW_GPIO_Port,SW_Pin) == GPIO_PIN_RESET)
		{
			HAL_Delay(1000);
			if(HAL_GPIO_ReadPin(SW_GPIO_Port,SW_Pin) == GPIO_PIN_RESET)
		  {
				if(rtu.setMode == 0)
				{
					Apc240SetFre(apc240_channel_21);
					rtu.setMode = 1;
					LedOn();
				}
				else
				{
					Apc240SetFre(rtu.apc240_Channel);
					rtu.setMode = 0;
					LedOff();
				}
		}
	}
}
	else if(GPIO_Pin == AUX_Pin)
	{
//		if(rtu.setFreMode == 0)
//		{
//			Apc240ModeSet(Apc240Mode1);
//		}
	}

		if(GPIO_Pin == GPIO_PIN_4 || GPIO_Pin == GPIO_PIN_1)
	{
		if(HAL_GPIO_ReadPin(GPIOA,GPIO_PIN_1) == GPIO_PIN_RESET )
		{
			 HAL_Delay(500);
			if(HAL_GPIO_ReadPin(GPIOA,GPIO_PIN_4) == GPIO_PIN_RESET)
			{
						// 14 kai
				sendData[3]= 0x09;
			}
			else
			{
					//1 k  4 bk
				sendData[3]= 0x01;
			}
		}
		else
		{
			if(HAL_GPIO_ReadPin(GPIOA,GPIO_PIN_4) == GPIO_PIN_RESET)
			{
				//1 bk 4 k
				sendData[3]= 0x08;
			}
			else
			{
				//1 bk  4 bk
				sendData[3]= 0x00;
			}
		}
				uint16_t crc;
				sendData[0] = rtu.rtuId;
				sendData[1] = 0x02;
				sendData[2]= 0x01;
				crc=usMBCRC16(sendData,4);
				sendData[5]= crc>>8;
				sendData[4]= crc;
				Apc240ModeSet(Apc240Mode1);
		    HAL_Delay(20);
				Apc240Send(sendData,6);
		    HAL_Delay(500);
	      UpdateInputReg();
	}
}
/* USER CODE END 4 */

/************************ (C) COPYRIGHT STMicroelectronics *****END OF FILE****/
